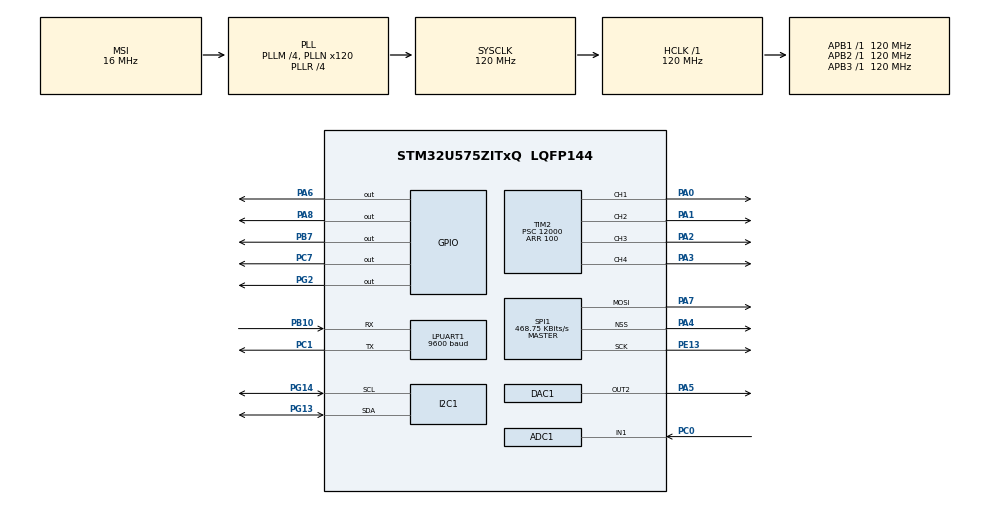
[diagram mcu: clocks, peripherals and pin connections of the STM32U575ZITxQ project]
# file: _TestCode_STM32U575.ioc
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ADC1.NbrOfConversion=1
ADC1.master=1
CORTEX_M33_NS.userName=CORTEX_M33
DAC1.DAC_Channel-DAC_OUT2=DAC_CHANNEL_2
I2C1.Analog_Filter=I2C_ANALOGFILTER_DISABLE
I2C1.I2C_Fall_Time=300
I2C1.I2C_Rise_Time=1000
I2C1.Timing=0x10911E24
LPTIM1.ClockPrescaler=LPTIM_PRESCALER_DIV2
LPTIM1.Period=2000
LPUART1.BaudRate=9600
LPUART1.DMADisableonRxErrorParam=UART_ADVFEATURE_DMA_DISABLEONRXERROR
LPUART1.OverrunDisableParam=UART_ADVFEATURE_OVERRUN_DISABLE
LPUART1.StopBits=UART_STOPBITS_2
Mcu.Family=STM32U5
Mcu.Name=STM32U575ZITxQ
Mcu.Package=LQFP144
NVIC.I2C1_EV_IRQn=true\:0\:0\:false\:false\:true\:true\:true\:true
NVIC.LPTIM1_IRQn=true\:0\:0\:false\:false\:true\:true\:true\:true
NVIC.LPUART1_IRQn=true\:0\:0\:false\:false\:true\:true\:true\:true
NVIC.PriorityGroup=NVIC_PRIORITYGROUP_4
NVIC.TIM2_IRQn=true\:0\:0\:false\:false\:true\:true\:true\:true
PA0.Signal=S_TIM2_CH1
PA1.Signal=S_TIM2_CH2
PA2.Signal=S_TIM2_CH3
PA3.Signal=S_TIM2_CH4
PA4.Mode=NSS_Signal_Hard_Output
PA4.Signal=SPI1_NSS
PA5.Signal=COMP_DAC12_group
PA6.Signal=GPIO_Output
PA7.Mode=TX_Only_Simplex_Unidirect_Master
PA7.Signal=SPI1_MOSI
PA8.Signal=GPIO_Output
PB10.Mode=Asynchronous
PB10.Signal=LPUART1_RX
PB7.Signal=GPIO_Output
PC0.Mode=IN1-Single-Ended
PC0.Signal=ADC1_IN1
PC1.Mode=Asynchronous
PC1.Signal=LPUART1_TX
PC7.Signal=GPIO_Output
PE13.Mode=TX_Only_Simplex_Unidirect_Master
PE13.Signal=SPI1_SCK
PG13.Mode=I2C
PG13.Signal=I2C1_SDA
PG14.Mode=I2C
PG14.Signal=I2C1_SCL
PG2.Signal=GPIO_Output
ProjectManager.HeapSize=0x200
ProjectManager.StackSize=0x400
ProjectManager.TargetToolchain=STM32CubeIDE
RCC.ADCCLockSelection=RCC_ADCDACCLKSOURCE_PLL2
RCC.ADCFreq_Value=24000000
RCC.AHBFreq_Value=120000000
RCC.APB1Freq_Value=120000000
RCC.APB1TimFreq_Value=120000000
RCC.APB2Freq_Value=120000000
RCC.APB2TimFreq_Value=120000000
RCC.APB3Freq_Value=120000000
RCC.CortexFreq_Value=120000000
RCC.EPOD_VALUE=16000000
RCC.HCLKFreq_Value=120000000
RCC.HSE_VALUE=16000000
RCC.HSI48_VALUE=48000000
RCC.HSI_VALUE=16000000
RCC.I2C1CLockSelection=RCC_I2C1CLKSOURCE_HSI
RCC.LPUART1CLockSelectionVirtual=RCC_LPUART1CLKSOURCE_HSI
RCC.LSE_VALUE=32768
RCC.LSIDIV_VALUE=32000
RCC.MSIClockRange=RCC_MSIRANGE_2
RCC.MSI_VALUE=16000000
RCC.PLL1R=4
RCC.PLL2M=4
RCC.PLL2N=120
RCC.PLL2R=20
RCC.PLLM=4
RCC.PLLN=120
RCC.SYSCLKFreq_VALUE=120000000
RCC.SYSCLKSource=RCC_SYSCLKSOURCE_PLLCLK
RCC.USBFreq_Value=48000000
RCC.VCOOutputFreq_Value=480000000
SH.COMP_DAC12_group.0=DAC1_OUT2,DAC_OUT2
SH.S_TIM2_CH1.0=TIM2_CH1,PWM Generation1 CH1
SH.S_TIM2_CH2.0=TIM2_CH2,PWM Generation2 CH2
SH.S_TIM2_CH3.0=TIM2_CH3,PWM Generation3 CH3
SH.S_TIM2_CH4.0=TIM2_CH4,PWM Generation4 CH4
SPI1.BaudRatePrescaler=SPI_BAUDRATEPRESCALER_256
SPI1.CalculateBaudRate=468.75 KBits/s
SPI1.DataSize=SPI_DATASIZE_8BIT
SPI1.Direction=SPI_DIRECTION_2LINES_TXONLY
SPI1.Mode=SPI_MODE_MASTER
SPI1.VirtualNSS=VM_NSSHARD
SPI1.VirtualType=VM_MASTER
TIM2.Channel-PWM\ Generation1\ CH1=TIM_CHANNEL_1
TIM2.Channel-PWM\ Generation2\ CH2=TIM_CHANNEL_2
TIM2.Channel-PWM\ Generation3\ CH3=TIM_CHANNEL_3
TIM2.Channel-PWM\ Generation4\ CH4=TIM_CHANNEL_4
TIM2.PeriodNoDither=100
TIM2.Prescaler=12000
TIM2.PulseNoDither_1=50
TIM2.PulseNoDither_2=50
TIM2.PulseNoDither_3=50
TIM2.PulseNoDither_4=50
VP_ICACHE_VS_ENABLE_ICACHE_MEMORY.Mode=Memoryregions
VP_LPBAMQUEUE_VS_QUEUE.Mode=QUEUEMODE
VP_LPBAM_VS_SIG1.Mode=SmartRun
VP_LPBAM_VS_SIG4.Mode=LPDMA1
VP_LPTIM1_VS_LPTIM_counterModeInternalClock.Mode=Counts__internal_clock_event_00
VP_MEMORYMAP_VS_MEMORYMAP.Mode=CurAppReg
VP_PWR_VS_SECSignals.Mode=Security/Privilege
VP_PWR_V_PVD_IN.Mode=Mode_PVD_Int
VP_PWR_Vdda.Mode=isolationVdda
VP_TIM2_VS_ClockSourceINT.Mode=Internal
board=custom

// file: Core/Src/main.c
/* USER CODE BEGIN Header */
/**
  ******************************************************************************
  * @file           : main.c
  * @brief          : Main program body
  ******************************************************************************
  * @attention
  *
  * Copyright (c) 2024 STMicroelectronics.
  * All rights reserved.
  *
  * This software is licensed under terms that can be found in the LICENSE file
  * in the root directory of this software component.
  * If no LICENSE file comes with this software, it is provided AS-IS.
  *
  ******************************************************************************
  */
/* USER CODE END Header */
#include "main.h"

/* USER CODE BEGIN PD */

#define	BMI160_CHIP_ID		0x00
#define	BMI160_GYR_X_0_7	0x20
#define	BMI160_GYR_X_8_15 	0x0D
#define	BMI160_GYR_Y_0_7	0x0E
#define	BMI160_GYR_Y_8_15 	0x0F
#define	BMI160_GYR_Z_0_7	0x10
#define	BMI160_GYR_Z_8_15 	0x11

/* USER CODE END PD */

ADC_HandleTypeDef hadc1;

DAC_HandleTypeDef hdac1;

I2C_HandleTypeDef hi2c1;

LPTIM_HandleTypeDef hlptim1;

UART_HandleTypeDef hlpuart1;

SPI_HandleTypeDef hspi1;

TIM_HandleTypeDef htim2;

/* USER CODE BEGIN PV */
//  Image data for mEND0Z0LOGO_simple_fullCopy
//

const uint8_t mEND0Z0LOGO_simple_fullCopyBitmaps[] =
{
	0x00, 0x00, 0x38, 0x00, 0x07, 0x00, 0x00, 0x00, //                   ###                ###
	0x00, 0x00, 0x48, 0x78, 0x05, 0x80, 0x00, 0x00, //                  #  #    ####        # ##
	0x00, 0x00, 0x4C, 0x7E, 0x08, 0x80, 0x00, 0x00, //                  #  ##   ######     #   #
	0x00, 0x00, 0x6F, 0x9E, 0xE7, 0x00, 0x00, 0x00, //                  ## #####  #### ###  ###
	0x00, 0x00, 0x17, 0xE6, 0xCE, 0x00, 0x00, 0x00, //                    # ######  ## ##  ###
	0x00, 0x00, 0x01, 0xF9, 0xCC, 0x00, 0x00, 0x00, //                        ######  ###  ##
	0x00, 0x00, 0x00, 0x3F, 0xDC, 0x00, 0x00, 0x00, //                           ######## ###
	0x00, 0x00, 0x0E, 0x0F, 0x9C, 0x00, 0x00, 0x00, //                     ###     #####  ###
	0x00, 0x00, 0x1F, 0x81, 0x9A, 0x00, 0x00, 0x00, //                    ######      ##  ## #
	0x00, 0x00, 0x07, 0xC0, 0x3B, 0x00, 0x00, 0x00, //                      #####        ### ##
	0x00, 0x00, 0x1D, 0x80, 0x3F, 0x00, 0x00, 0x00, //                    ### ##         ######
	0x00, 0x00, 0x1B, 0x80, 0x37, 0x00, 0x00, 0x00, //                    ## ###         ## ###
	0x00, 0x00, 0x3B, 0x00, 0x76, 0x00, 0x00, 0x00, //                   ### ##         ### ##
	0x00, 0x00, 0x3F, 0x00, 0x6E, 0x00, 0x00, 0x00, //                   ######         ## ###
	0x00, 0x00, 0x37, 0x00, 0xE4, 0x00, 0x00, 0x00, //                   ## ###        ###  #
	0x00, 0x00, 0x76, 0x40, 0xFC, 0x00, 0x00, 0x00, //                  ### ##  #      ######
	0x00, 0x00, 0x0E, 0x78, 0x3C, 0x00, 0x00, 0x00, //                     ###  ####     ####
	0x00, 0x00, 0x0C, 0x7E, 0x0C, 0x00, 0x00, 0x00, //                     ##   ######     ##
	0x00, 0x00, 0x1C, 0xFF, 0xC0, 0x00, 0x00, 0x00, //                    ###  ##########
	0x00, 0x00, 0x1C, 0xD3, 0xF0, 0x00, 0x00, 0x00, //                    ###  ## #  ######
	0x00, 0x00, 0x39, 0xDC, 0xFF, 0x00, 0x00, 0x00, //                   ###  ### ###  ########
	0x00, 0x00, 0x6C, 0xBF, 0x9C, 0x80, 0x00, 0x00, //                  ## ##  # #######  ###  #
	0x00, 0x00, 0x44, 0x0F, 0x84, 0x80, 0x00, 0x00, //                  #   #      #####    #  #
	0x00, 0x00, 0x38, 0x01, 0x07, 0x00, 0x00, 0x00, //                   ###          #     ###
	0x00, 0x00, 0x00, 0x00, 0x00, 0x00, 0x00, 0x00, //
	0x00, 0x00, 0x00, 0x00, 0x00, 0x00, 0x00, 0x00, //
	0x00, 0x00, 0x00, 0x00, 0x00, 0x00, 0x00, 0x00, //
	0x00, 0x00, 0x00, 0x00, 0x00, 0x00, 0x00, 0x00, //
	0x00, 0x00, 0x00, 0x00, 0x00, 0x00, 0x00, 0x00, //
	0x00, 0x00, 0x00, 0x00, 0x00, 0x00, 0x00, 0x00, //
	0x00, 0x80, 0x00, 0x00, 0xC3, 0x00, 0x03, 0x00, //         #                       ##    ##              ##
	0xC1, 0xC0, 0x00, 0x00, 0xCF, 0x80, 0x0F, 0xC0, // ##     ###                      ##  #####           ######
	0xE3, 0xC0, 0x00, 0x00, 0xCD, 0xC0, 0x0C, 0xC0, // ###   ####                      ##  ## ###          ##  ##
	0xF7, 0xC7, 0x9B, 0x87, 0xDC, 0xCF, 0xDC, 0xC0, // #### #####   ####  ## ###    ##### ###  ##  ###### ###  ##
	0xFF, 0xDF, 0xDF, 0xCF, 0xDC, 0xCF, 0xDC, 0xC0, // ########## ####### #######  ###### ###  ##  ###### ###  ##
	0xDD, 0xDD, 0xD8, 0xDC, 0xDC, 0xC3, 0x9C, 0xC0, // ## ### ### ### ### ##   ## ###  ## ###  ##    ###  ###  ##
	0xC9, 0xDF, 0x98, 0xDD, 0xDC, 0xC6, 0x0C, 0xC0, // ##  #  ### ######  ##   ## ### ### ###  ##   ##     ##  ##
	0xC1, 0xCF, 0x98, 0xCF, 0xCF, 0xCF, 0xCF, 0xC0, // ##     ###  #####  ##   ##  ######  ######  ######  ######
	0xC0, 0xC7, 0x98, 0xC7, 0xC7, 0x8F, 0xC7, 0x80, // ##      ##   ####  ##   ##   #####   ####   ######   ####
};

// Bitmap sizes for mEND0Z0LOGO_simple_fullCopy
const uint8_t mEND0Z0LOGO_simple_fullCopyWidthPages = 8;
const uint8_t mEND0Z0LOGO_simple_fullCopyHeightPixels = 39;

const uint8_t BMI160_I2C_ADDR = (0x69) << 1;

/* USER CODE END PV */

void SystemClock_Config(void);
void PeriphCommonClock_Config(void);
static void SystemPower_Config(void);
static void MX_GPIO_Init(void);
static void MX_ADC1_Init(void);
static void MX_DAC1_Init(void);
static void MX_I2C1_Init(void);
static void MX_LPTIM1_Init(void);
static void MX_LPUART1_UART_Init(void);
static void MX_TIM2_Init(void);
static void MX_ICACHE_Init(void);
static void MX_SPI1_Init(void);
/* USER CODE BEGIN PFP */

static void _init_LCD( void );
static void _init_BMI160( void );

/* USER CODE END PFP */

int main(void)
{

  /* MCU Configuration--------------------------------------------------------*/

  /* Reset of all peripherals, Initializes the Flash interface and the Systick. */
  HAL_Init();

  /* Configure the system clock */
  SystemClock_Config();

/* Configure the peripherals common clocks */
  PeriphCommonClock_Config();

  /* Configure the System Power */
  SystemPower_Config();

  /* Initialize all configured peripherals */
  MX_GPIO_Init();
  MX_ADC1_Init();
  MX_DAC1_Init();
  MX_I2C1_Init();
  MX_LPTIM1_Init();
  MX_LPUART1_UART_Init();
  MX_TIM2_Init();
  MX_ICACHE_Init();
  MX_SPI1_Init();
  /* USER CODE BEGIN 2 */
  HAL_LPTIM_Counter_Start_IT( &hlptim1);

  HAL_TIM_PWM_Start_IT( &htim2, TIM_CHANNEL_1);
  HAL_TIM_PWM_Start_IT( &htim2, TIM_CHANNEL_2);
  HAL_TIM_PWM_Start_IT( &htim2, TIM_CHANNEL_3);
  HAL_TIM_PWM_Start_IT( &htim2, TIM_CHANNEL_4);

  __HAL_UART_ENABLE(&hlpuart1);

  __HAL_I2C_ENABLE(&hi2c1);

  __HAL_SPI_ENABLE(&hspi1);

  /* USER CODE END 2 */

  /* Infinite loop */
  /* USER CODE BEGIN WHILE */

  while (1)
  {
	  _init_BMI160();
	  for(uint32_t cnt = 0; cnt < 2000000; ++cnt);
    /* USER CODE END WHILE */

  }
}

void SystemClock_Config(void)
{
  RCC_OscInitTypeDef RCC_OscInitStruct = {0};
  RCC_ClkInitTypeDef RCC_ClkInitStruct = {0};

  /** Configure the main internal regulator output voltage
  */
  if (HAL_PWREx_ControlVoltageScaling(PWR_REGULATOR_VOLTAGE_SCALE1) != HAL_OK)
  {
    Error_Handler();
  }

  /** Initializes the CPU, AHB and APB buses clocks
  */
  RCC_OscInitStruct.OscillatorType = RCC_OSCILLATORTYPE_HSI|RCC_OSCILLATORTYPE_LSI
                              |RCC_OSCILLATORTYPE_MSI|RCC_OSCILLATORTYPE_MSIK;
  RCC_OscInitStruct.HSIState = RCC_HSI_ON;
  RCC_OscInitStruct.HSICalibrationValue = RCC_HSICALIBRATION_DEFAULT;
  RCC_OscInitStruct.LSIState = RCC_LSI_ON;
  RCC_OscInitStruct.MSIState = RCC_MSI_ON;
  RCC_OscInitStruct.MSICalibrationValue = RCC_MSICALIBRATION_DEFAULT;
  RCC_OscInitStruct.MSIClockRange = RCC_MSIRANGE_2;
  RCC_OscInitStruct.LSIDiv = RCC_LSI_DIV1;
  RCC_OscInitStruct.MSIKClockRange = RCC_MSIKRANGE_4;
  RCC_OscInitStruct.MSIKState = RCC_MSIK_ON;
  RCC_OscInitStruct.PLL.PLLState = RCC_PLL_ON;
  RCC_OscInitStruct.PLL.PLLSource = RCC_PLLSOURCE_MSI;
  RCC_OscInitStruct.PLL.PLLMBOOST = RCC_PLLMBOOST_DIV1;
  RCC_OscInitStruct.PLL.PLLM = 4;
  RCC_OscInitStruct.PLL.PLLN = 120;
  RCC_OscInitStruct.PLL.PLLP = 2;
  RCC_OscInitStruct.PLL.PLLQ = 2;
  RCC_OscInitStruct.PLL.PLLR = 4;
  RCC_OscInitStruct.PLL.PLLRGE = RCC_PLLVCIRANGE_0;
  RCC_OscInitStruct.PLL.PLLFRACN = 0;
  if (HAL_RCC_OscConfig(&RCC_OscInitStruct) != HAL_OK)
  {
    Error_Handler();
  }

  /** Initializes the CPU, AHB and APB buses clocks
  */
  RCC_ClkInitStruct.ClockType = RCC_CLOCKTYPE_HCLK|RCC_CLOCKTYPE_SYSCLK
                              |RCC_CLOCKTYPE_PCLK1|RCC_CLOCKTYPE_PCLK2
                              |RCC_CLOCKTYPE_PCLK3;
  RCC_ClkInitStruct.SYSCLKSource = RCC_SYSCLKSOURCE_PLLCLK;
  RCC_ClkInitStruct.AHBCLKDivider = RCC_SYSCLK_DIV1;
  RCC_ClkInitStruct.APB1CLKDivider = RCC_HCLK_DIV1;
  RCC_ClkInitStruct.APB2CLKDivider = RCC_HCLK_DIV1;
  RCC_ClkInitStruct.APB3CLKDivider = RCC_HCLK_DIV1;

  if (HAL_RCC_ClockConfig(&RCC_ClkInitStruct, FLASH_LATENCY_3) != HAL_OK)
  {
    Error_Handler();
  }

  /** Enable the force of MSIK in stop mode
  */
  __HAL_RCC_MSIKSTOP_ENABLE();
}

void PeriphCommonClock_Config(void)
{
  RCC_PeriphCLKInitTypeDef PeriphClkInit = {0};

  /** Initializes the common periph clock
  */
  PeriphClkInit.PeriphClockSelection = RCC_PERIPHCLK_ADCDAC;
  PeriphClkInit.AdcDacClockSelection = RCC_ADCDACCLKSOURCE_PLL2;
  PeriphClkInit.PLL2.PLL2Source = RCC_PLLSOURCE_MSI;
  PeriphClkInit.PLL2.PLL2M = 4;
  PeriphClkInit.PLL2.PLL2N = 120;
  PeriphClkInit.PLL2.PLL2P = 2;
  PeriphClkInit.PLL2.PLL2Q = 2;
  PeriphClkInit.PLL2.PLL2R = 20;
  PeriphClkInit.PLL2.PLL2RGE = RCC_PLLVCIRANGE_0;
  PeriphClkInit.PLL2.PLL2FRACN = 0;
  PeriphClkInit.PLL2.PLL2ClockOut = RCC_PLL2_DIVR;
  if (HAL_RCCEx_PeriphCLKConfig(&PeriphClkInit) != HAL_OK)
  {
    Error_Handler();
  }
}

/**
  * @brief Power Configuration
  * @retval None
  */
static void SystemPower_Config(void)
{
  HAL_PWREx_EnableVddIO2();

  PWR_PVDTypeDef sConfigPVD = {0};

  /*
   * PVD Configuration
   */
  sConfigPVD.PVDLevel = PWR_PVDLEVEL_0;
  sConfigPVD.Mode = PWR_PVD_MODE_NORMAL;
  HAL_PWR_ConfigPVD(&sConfigPVD);

  /*
   * Enable the PVD Output
   */
  HAL_PWR_EnablePVD();
}

static void MX_ADC1_Init(void)
{

  /** Common config
  */
  hadc1.Instance = ADC1;
  hadc1.Init.ClockPrescaler = ADC_CLOCK_ASYNC_DIV1;
  hadc1.Init.Resolution = ADC_RESOLUTION_14B;
  hadc1.Init.GainCompensation = 0;
  hadc1.Init.ScanConvMode = ADC_SCAN_DISABLE;
  hadc1.Init.EOCSelection = ADC_EOC_SINGLE_CONV;
  hadc1.Init.LowPowerAutoWait = DISABLE;
  hadc1.Init.ContinuousConvMode = DISABLE;
  hadc1.Init.NbrOfConversion = 1;
  hadc1.Init.DiscontinuousConvMode = DISABLE;
  hadc1.Init.DMAContinuousRequests = DISABLE;
  hadc1.Init.TriggerFrequencyMode = ADC_TRIGGER_FREQ_HIGH;
  hadc1.Init.Overrun = ADC_OVR_DATA_PRESERVED;
  hadc1.Init.LeftBitShift = ADC_LEFTBITSHIFT_NONE;
  hadc1.Init.ConversionDataManagement = ADC_CONVERSIONDATA_DR;
  hadc1.Init.OversamplingMode = DISABLE;
  if (HAL_ADC_Init(&hadc1) != HAL_OK)
  {
    Error_Handler();
  }

}

static void MX_DAC1_Init(void)
{

  DAC_ChannelConfTypeDef sConfig = {0};
  DAC_AutonomousModeConfTypeDef sAutonomousMode = {0};

  /** DAC Initialization
  */
  hdac1.Instance = DAC1;
  if (HAL_DAC_Init(&hdac1) != HAL_OK)
  {
    Error_Handler();
  }

  /** DAC channel OUT2 config
  */
  sConfig.DAC_HighFrequency = DAC_HIGH_FREQUENCY_INTERFACE_MODE_DISABLE;
  sConfig.DAC_DMADoubleDataMode = DISABLE;
  sConfig.DAC_SignedFormat = DISABLE;
  sConfig.DAC_SampleAndHold = DAC_SAMPLEANDHOLD_DISABLE;
  sConfig.DAC_Trigger = DAC_TRIGGER_NONE;
  sConfig.DAC_OutputBuffer = DAC_OUTPUTBUFFER_DISABLE;
  sConfig.DAC_ConnectOnChipPeripheral = DAC_CHIPCONNECT_EXTERNAL;
  sConfig.DAC_UserTrimming = DAC_TRIMMING_FACTORY;
  if (HAL_DAC_ConfigChannel(&hdac1, &sConfig, DAC_CHANNEL_2) != HAL_OK)
  {
    Error_Handler();
  }

  /** Configure Autonomous Mode
  */
  sAutonomousMode.AutonomousModeState = DAC_AUTONOMOUS_MODE_DISABLE;
  if (HAL_DACEx_SetConfigAutonomousMode(&hdac1, &sAutonomousMode) != HAL_OK)
  {
    Error_Handler();
  }

}

static void MX_I2C1_Init(void)
{

  hi2c1.Instance = I2C1;
  hi2c1.Init.Timing = 0x10911E24;
  hi2c1.Init.OwnAddress1 = 0;
  hi2c1.Init.AddressingMode = I2C_ADDRESSINGMODE_7BIT;
  hi2c1.Init.DualAddressMode = I2C_DUALADDRESS_DISABLE;
  hi2c1.Init.OwnAddress2 = 0;
  hi2c1.Init.OwnAddress2Masks = I2C_OA2_NOMASK;
  hi2c1.Init.GeneralCallMode = I2C_GENERALCALL_DISABLE;
  hi2c1.Init.NoStretchMode = I2C_NOSTRETCH_DISABLE;
  if (HAL_I2C_Init(&hi2c1) != HAL_OK)
  {
    Error_Handler();
  }

  /** Configure Analogue filter
  */
  if (HAL_I2CEx_ConfigAnalogFilter(&hi2c1, I2C_ANALOGFILTER_DISABLE) != HAL_OK)
  {
    Error_Handler();
  }

  /** Configure Digital filter
  */
  if (HAL_I2CEx_ConfigDigitalFilter(&hi2c1, 0) != HAL_OK)
  {
    Error_Handler();
  }

}

static void MX_ICACHE_Init(void)
{

  ICACHE_RegionConfigTypeDef pRegionConfig = {0};

  /** Configure and enable a region for memory remapping.
  */
  if (HAL_ICACHE_Disable() != HAL_OK)
  {
    Error_Handler();
  }
  pRegionConfig.BaseAddress = 0x10000000;
  pRegionConfig.RemapAddress = 0x60000000;
  pRegionConfig.Size = ICACHE_REGIONSIZE_2MB;
  pRegionConfig.TrafficRoute = ICACHE_MASTER1_PORT;
  pRegionConfig.OutputBurstType = ICACHE_OUTPUT_BURST_WRAP;
  if (HAL_ICACHE_EnableRemapRegion(_NULL, &pRegionConfig) != HAL_OK)
  {
    Error_Handler();
  }

}

static void MX_LPTIM1_Init(void)
{

  hlptim1.Instance = LPTIM1;
  hlptim1.Init.Clock.Source = LPTIM_CLOCKSOURCE_APBCLOCK_LPOSC;
  hlptim1.Init.Clock.Prescaler = LPTIM_PRESCALER_DIV2;
  hlptim1.Init.Trigger.Source = LPTIM_TRIGSOURCE_SOFTWARE;
  hlptim1.Init.Period = 2000;
  hlptim1.Init.UpdateMode = LPTIM_UPDATE_IMMEDIATE;
  hlptim1.Init.CounterSource = LPTIM_COUNTERSOURCE_INTERNAL;
  hlptim1.Init.Input1Source = LPTIM_INPUT1SOURCE_GPIO;
  hlptim1.Init.Input2Source = LPTIM_INPUT2SOURCE_GPIO;
  hlptim1.Init.RepetitionCounter = 0;
  if (HAL_LPTIM_Init(&hlptim1) != HAL_OK)
  {
    Error_Handler();
  }

}

static void MX_LPUART1_UART_Init(void)
{

  hlpuart1.Instance = LPUART1;
  hlpuart1.Init.BaudRate = 9600;
  hlpuart1.Init.WordLength = UART_WORDLENGTH_8B;
  hlpuart1.Init.StopBits = UART_STOPBITS_2;
  hlpuart1.Init.Parity = UART_PARITY_NONE;
  hlpuart1.Init.Mode = UART_MODE_TX_RX;
  hlpuart1.Init.HwFlowCtl = UART_HWCONTROL_NONE;
  hlpuart1.Init.OneBitSampling = UART_ONE_BIT_SAMPLE_DISABLE;
  hlpuart1.AdvancedInit.AdvFeatureInit = UART_ADVFEATURE_RXOVERRUNDISABLE_INIT|UART_ADVFEATURE_DMADISABLEONERROR_INIT;
  hlpuart1.AdvancedInit.OverrunDisable = UART_ADVFEATURE_OVERRUN_DISABLE;
  hlpuart1.AdvancedInit.DMADisableonRxError = UART_ADVFEATURE_DMA_DISABLEONRXERROR;
  hlpuart1.FifoMode = UART_FIFOMODE_DISABLE;
  if (HAL_UART_Init(&hlpuart1) != HAL_OK)
  {
    Error_Handler();
  }
  if (HAL_UARTEx_SetTxFifoThreshold(&hlpuart1, UART_TXFIFO_THRESHOLD_1_8) != HAL_OK)
  {
    Error_Handler();
  }
  if (HAL_UARTEx_SetRxFifoThreshold(&hlpuart1, UART_RXFIFO_THRESHOLD_1_8) != HAL_OK)
  {
    Error_Handler();
  }
  if (HAL_UARTEx_DisableFifoMode(&hlpuart1) != HAL_OK)
  {
    Error_Handler();
  }

}

static void MX_SPI1_Init(void)
{

  SPI_AutonomousModeConfTypeDef HAL_SPI_AutonomousMode_Cfg_Struct = {0};

  /* SPI1 parameter configuration*/
  hspi1.Instance = SPI1;
  hspi1.Init.Mode = SPI_MODE_MASTER;
  hspi1.Init.Direction = SPI_DIRECTION_2LINES_TXONLY;
  hspi1.Init.DataSize = SPI_DATASIZE_8BIT;
  hspi1.Init.CLKPolarity = SPI_POLARITY_LOW;
  hspi1.Init.CLKPhase = SPI_PHASE_1EDGE;
  hspi1.Init.NSS = SPI_NSS_HARD_OUTPUT;
  hspi1.Init.BaudRatePrescaler = SPI_BAUDRATEPRESCALER_256;
  hspi1.Init.FirstBit = SPI_FIRSTBIT_MSB;
  hspi1.Init.TIMode = SPI_TIMODE_DISABLE;
  hspi1.Init.CRCCalculation = SPI_CRCCALCULATION_DISABLE;
  hspi1.Init.CRCPolynomial = 0x7;
  hspi1.Init.NSSPMode = SPI_NSS_PULSE_ENABLE;
  hspi1.Init.NSSPolarity = SPI_NSS_POLARITY_LOW;
  hspi1.Init.FifoThreshold = SPI_FIFO_THRESHOLD_01DATA;
  hspi1.Init.MasterSSIdleness = SPI_MASTER_SS_IDLENESS_00CYCLE;
  hspi1.Init.MasterInterDataIdleness = SPI_MASTER_INTERDATA_IDLENESS_00CYCLE;
  hspi1.Init.MasterReceiverAutoSusp = SPI_MASTER_RX_AUTOSUSP_DISABLE;
  hspi1.Init.MasterKeepIOState = SPI_MASTER_KEEP_IO_STATE_DISABLE;
  hspi1.Init.IOSwap = SPI_IO_SWAP_DISABLE;
  hspi1.Init.ReadyMasterManagement = SPI_RDY_MASTER_MANAGEMENT_INTERNALLY;
  hspi1.Init.ReadyPolarity = SPI_RDY_POLARITY_HIGH;
  if (HAL_SPI_Init(&hspi1) != HAL_OK)
  {
    Error_Handler();
  }
  HAL_SPI_AutonomousMode_Cfg_Struct.TriggerState = SPI_AUTO_MODE_DISABLE;
  HAL_SPI_AutonomousMode_Cfg_Struct.TriggerSelection = SPI_GRP1_GPDMA_CH0_TCF_TRG;
  HAL_SPI_AutonomousMode_Cfg_Struct.TriggerPolarity = SPI_TRIG_POLARITY_RISING;
  if (HAL_SPIEx_SetConfigAutonomousMode(&hspi1, &HAL_SPI_AutonomousMode_Cfg_Struct) != HAL_OK)
  {
    Error_Handler();
  }

}

static void MX_TIM2_Init(void)
{

  TIM_ClockConfigTypeDef sClockSourceConfig = {0};
  TIM_MasterConfigTypeDef sMasterConfig = {0};
  TIM_OC_InitTypeDef sConfigOC = {0};

  htim2.Instance = TIM2;
  htim2.Init.Prescaler = 12000;
  htim2.Init.CounterMode = TIM_COUNTERMODE_UP;
  htim2.Init.Period = 100;
  htim2.Init.ClockDivision = TIM_CLOCKDIVISION_DIV1;
  htim2.Init.AutoReloadPreload = TIM_AUTORELOAD_PRELOAD_DISABLE;
  if (HAL_TIM_Base_Init(&htim2) != HAL_OK)
  {
    Error_Handler();
  }
  sClockSourceConfig.ClockSource = TIM_CLOCKSOURCE_INTERNAL;
  if (HAL_TIM_ConfigClockSource(&htim2, &sClockSourceConfig) != HAL_OK)
  {
    Error_Handler();
  }
  if (HAL_TIM_PWM_Init(&htim2) != HAL_OK)
  {
    Error_Handler();
  }
  sMasterConfig.MasterOutputTrigger = TIM_TRGO_RESET;
  sMasterConfig.MasterSlaveMode = TIM_MASTERSLAVEMODE_DISABLE;
  if (HAL_TIMEx_MasterConfigSynchronization(&htim2, &sMasterConfig) != HAL_OK)
  {
    Error_Handler();
  }
  sConfigOC.OCMode = TIM_OCMODE_PWM1;
  sConfigOC.Pulse = 50;
  sConfigOC.OCPolarity = TIM_OCPOLARITY_HIGH;
  sConfigOC.OCFastMode = TIM_OCFAST_DISABLE;
  if (HAL_TIM_PWM_ConfigChannel(&htim2, &sConfigOC, TIM_CHANNEL_1) != HAL_OK)
  {
    Error_Handler();
  }
  if (HAL_TIM_PWM_ConfigChannel(&htim2, &sConfigOC, TIM_CHANNEL_2) != HAL_OK)
  {
    Error_Handler();
  }
  if (HAL_TIM_PWM_ConfigChannel(&htim2, &sConfigOC, TIM_CHANNEL_3) != HAL_OK)
  {
    Error_Handler();
  }
  if (HAL_TIM_PWM_ConfigChannel(&htim2, &sConfigOC, TIM_CHANNEL_4) != HAL_OK)
  {
    Error_Handler();
  }
  HAL_TIM_MspPostInit(&htim2);

}

static void MX_GPIO_Init(void)
{
  GPIO_InitTypeDef GPIO_InitStruct = {0};

  /* GPIO Ports Clock Enable */
  __HAL_RCC_GPIOC_CLK_ENABLE();
  __HAL_RCC_GPIOA_CLK_ENABLE();
  __HAL_RCC_GPIOE_CLK_ENABLE();
  __HAL_RCC_GPIOB_CLK_ENABLE();
  __HAL_RCC_GPIOG_CLK_ENABLE();

  /*Configure GPIO pin Output Level */
  HAL_GPIO_WritePin(GPIOA, GPIO_PIN_6|GPIO_PIN_8, GPIO_PIN_RESET);

  /*Configure GPIO pin Output Level */
  HAL_GPIO_WritePin(GPIOG, GPIO_PIN_2, GPIO_PIN_RESET);

  /*Configure GPIO pin Output Level */
  HAL_GPIO_WritePin(GPIOC, GPIO_PIN_7, GPIO_PIN_RESET);

  /*Configure GPIO pin Output Level */
  HAL_GPIO_WritePin(GPIOB, GPIO_PIN_7, GPIO_PIN_RESET);

  /*Configure GPIO pins : PA6 PA8 */
  GPIO_InitStruct.Pin = GPIO_PIN_6|GPIO_PIN_8;
  GPIO_InitStruct.Mode = GPIO_MODE_OUTPUT_PP;
  GPIO_InitStruct.Pull = GPIO_NOPULL;
  GPIO_InitStruct.Speed = GPIO_SPEED_FREQ_LOW;
  HAL_GPIO_Init(GPIOA, &GPIO_InitStruct);

  /*Configure GPIO pin : PG2 */
  GPIO_InitStruct.Pin = GPIO_PIN_2;
  GPIO_InitStruct.Mode = GPIO_MODE_OUTPUT_PP;
  GPIO_InitStruct.Pull = GPIO_NOPULL;
  GPIO_InitStruct.Speed = GPIO_SPEED_FREQ_LOW;
  HAL_GPIO_Init(GPIOG, &GPIO_InitStruct);

  /*Configure GPIO pin : PC7 */
  GPIO_InitStruct.Pin = GPIO_PIN_7;
  GPIO_InitStruct.Mode = GPIO_MODE_OUTPUT_PP;
  GPIO_InitStruct.Pull = GPIO_NOPULL;
  GPIO_InitStruct.Speed = GPIO_SPEED_FREQ_LOW;
  HAL_GPIO_Init(GPIOC, &GPIO_InitStruct);

  /*Configure GPIO pin : PB7 */
  GPIO_InitStruct.Pin = GPIO_PIN_7;
  GPIO_InitStruct.Mode = GPIO_MODE_OUTPUT_PP;
  GPIO_InitStruct.Pull = GPIO_NOPULL;
  GPIO_InitStruct.Speed = GPIO_SPEED_FREQ_LOW;
  HAL_GPIO_Init(GPIOB, &GPIO_InitStruct);

}

/* USER CODE BEGIN 4 */

static void _init_LCD( void )
{
	uint8_t tempVar = 0;
	HAL_GPIO_WritePin( GPIOA, GPIO_PIN_8, GPIO_PIN_RESET);
	for(uint32_t cnt = 0; cnt < 2000000; ++cnt);
	HAL_GPIO_WritePin( GPIOA, GPIO_PIN_8, GPIO_PIN_SET);

	HAL_GPIO_WritePin( GPIOA, GPIO_PIN_6, GPIO_PIN_RESET);
	tempVar = 0x21;
	HAL_SPI_Transmit(&hspi1, &tempVar, 1, 10);
	tempVar = 0x90;
	HAL_SPI_Transmit(&hspi1, &tempVar, 1, 10);
	tempVar = 0x20;
	HAL_SPI_Transmit(&hspi1, &tempVar, 1, 10);
	tempVar = 0x0C;
	HAL_SPI_Transmit(&hspi1, &tempVar, 1, 10);

	HAL_GPIO_WritePin( GPIOA, GPIO_PIN_6, GPIO_PIN_SET);

	tempVar = 0x0F;
	HAL_SPI_Transmit(&hspi1, &tempVar, 1, 10);
	HAL_SPI_Transmit(&hspi1, &tempVar, 1, 10);
	HAL_SPI_Transmit(&hspi1, &tempVar, 1, 10);
	HAL_SPI_Transmit(&hspi1, &tempVar, 1, 10);
	HAL_SPI_Transmit(&hspi1, &tempVar, 1, 10);
	HAL_SPI_Transmit(&hspi1, &tempVar, 1, 10);
}

static void _init_BMI160( void )
{
	uint8_t readData = 0;
	uint8_t readGyro[6];
	uint8_t sendData[7] = "0x";
	uint8_t i2c_addr = BMI160_I2C_ADDR;
	uint8_t memAddr = BMI160_CHIP_ID;
	HAL_I2C_Mem_Read( &hi2c1, i2c_addr, memAddr, 1, &readData, 1, 1);
	sendData[2] = (readData/10) + '0';
	sendData[3] = (readData%10) + '0';
	sendData[4] = '\r';
	sendData[5] = '\n';
	sendData[6] = 0;
	HAL_UART_Transmit(&hlpuart1, sendData, sizeof(sendData), 100);

	memAddr = BMI160_GYR_X_0_7;
	HAL_I2C_Mem_Read( &hi2c1, i2c_addr, memAddr, 1, readGyro, 6, 1);
	sendData[0] = '0';
	sendData[1] = 'x';
	sendData[2] = (readGyro[0]/10) + '0';
	sendData[3] = (readGyro[0]%10) + '0';
	sendData[4] = 0;
	sendData[5] = 0;
	sendData[6] = 0;
	HAL_UART_Transmit(&hlpuart1, sendData, sizeof(sendData), 100);
	sendData[0] = (readGyro[1]/10) + '0';
	sendData[1] = (readGyro[1]%10) + '0';
	sendData[2] = '\r';
	sendData[3] = '\n';
	sendData[4] = 0;
	sendData[5] = 0;
	sendData[6] = 0;
	HAL_UART_Transmit(&hlpuart1, sendData, sizeof(sendData), 100);
	sendData[0] = '0';
	sendData[1] = 'x';
	sendData[2] = (readGyro[2]/10) + '0';
	sendData[3] = (readGyro[2]%10) + '0';
	sendData[4] = 0;
	sendData[5] = 0;
	sendData[6] = 0;
	HAL_UART_Transmit(&hlpuart1, sendData, sizeof(sendData), 100);
	sendData[0] = (readGyro[3]/10) + '0';
	sendData[1] = (readGyro[3]%10) + '0';
	sendData[2] = '\r';
	sendData[3] = '\n';
	sendData[4] = 0;
	sendData[5] = 0;
	sendData[6] = 0;
	HAL_UART_Transmit(&hlpuart1, sendData, sizeof(sendData), 100);
	sendData[0] = '0';
	sendData[1] = 'x';
	sendData[2] = (readGyro[4]/10) + '0';
	sendData[3] = (readGyro[4]%10) + '0';
	sendData[4] = 0;
	sendData[5] = 0;
	sendData[6] = 0;
	HAL_UART_Transmit(&hlpuart1, sendData, sizeof(sendData), 100);
	sendData[0] = (readGyro[5]/10) + '0';
	sendData[1] = (readGyro[5]%10) + '0';
	sendData[2] = '\r';
	sendData[3] = '\n';
	sendData[4] = 0;
	sendData[5] = 0;
	sendData[6] = 0;
	HAL_UART_Transmit(&hlpuart1, sendData, sizeof(sendData), 100);

}

/* USER CODE END 4 */

void Error_Handler(void)
{
  __disable_irq();
  while (1)
  {
  }
}
